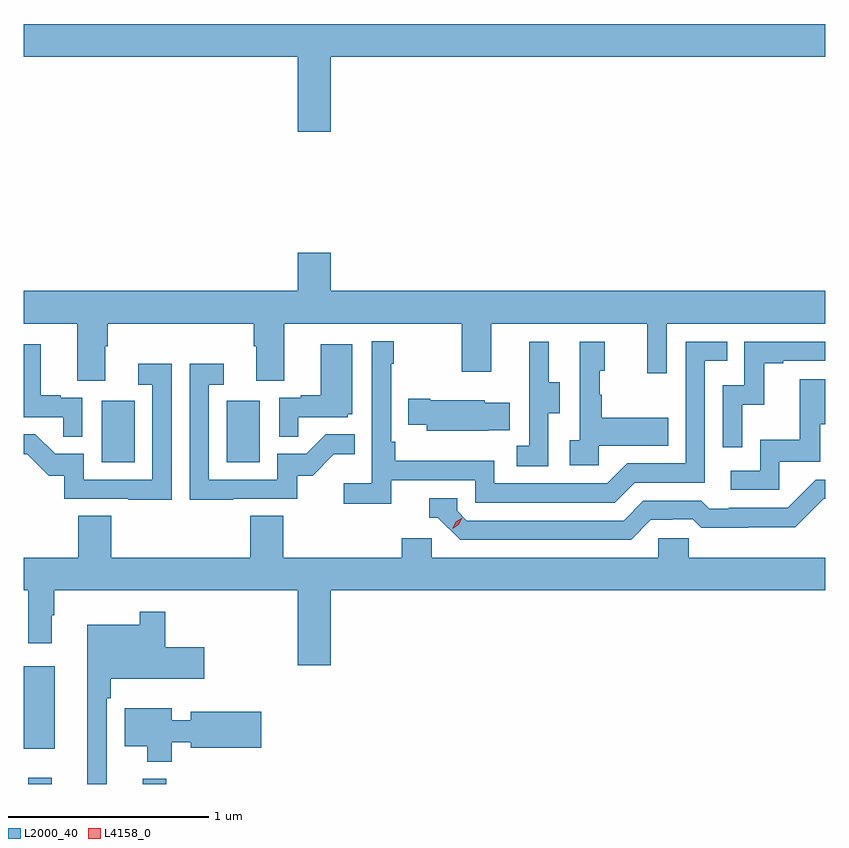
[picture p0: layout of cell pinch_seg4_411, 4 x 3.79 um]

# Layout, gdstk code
import gdstk
lib = gdstk.Library(unit=1e-6, precision=1e-09)
def R(c, l, rs):  # rectangles x0, y0, x1, y1
    for r in rs: c.add(gdstk.rectangle(r[:2], r[2:], *l))
def P(c, l, *ps):  # polygons
    for p in ps: c.add(gdstk.Polygon(p, *l))
L2000_40 = (2000, 40)
L4158_0 = (4158, 0)

pinch_seg4_411 = lib.new_cell('pinch_seg4_411')
R(pinch_seg4_411, L2000_40, [(990.835,769.214,990.953,769.246), (991.406,769.214,991.523,769.24), (990.813,769.391,990.967,769.801), (991.202,770.82,991.366,771.127), (991.826,770.82,991.99,771.127)])
P(pinch_seg4_411, L2000_40, [(992.344,772.844),(994.813,772.844),(994.813,773.008),(990.813,773.008),(990.813,772.844),(992.18,772.844),(992.18,772.47),(992.344,772.47)],
  [(991.219,771.4),(991.232,771.4),(991.232,771.512),(991.961,771.512),(991.961,771.4),(991.973,771.4),(991.973,771.226),(992.113,771.226),(992.113,771.512),(992.998,771.512),(992.998,771.273),(993.145,771.273),(993.145,771.512),(993.926,771.512),(993.926,771.264),(994.023,771.264),(994.023,771.512),(994.813,771.512),(994.813,771.676),(992.344,771.676),(992.344,771.865),(992.18,771.865),(992.18,771.676),(990.813,771.676),(990.813,771.512),(991.079,771.512),(991.079,771.226),(991.219,771.226)],
  [(992.648,770.73),(993.066,770.73),(993.066,770.619),(993.763,770.619),(993.862,770.718),(994.212,770.718),(994.212,771.327),(994.325,771.327),(994.325,771.423),(994.116,771.423),(994.116,770.814),(993.825,770.814),(993.726,770.715),(993.162,770.715),(993.162,770.827),(992.666,770.827),(992.666,770.923),(992.646,770.923),(992.646,771.311),(992.659,771.311),(992.659,771.424),(992.55,771.424),(992.55,770.716),(992.409,770.716),(992.409,770.614),(992.648,770.614)],
  [(994.398,771.107),(994.508,771.107),(994.508,771.315),(994.603,771.315),(994.603,771.327),(994.813,771.327),(994.813,771.423),(994.41,771.423),(994.41,771.204),(994.302,771.204),(994.302,770.895),(994.398,770.895)],
  [(993.684,770.903),(994.031,770.903),(994.031,771.043),(993.697,771.043),(993.697,771.158),(993.687,771.158),(993.687,771.276),(993.712,771.276),(993.712,771.421),(993.588,771.421),(993.588,770.93),(993.537,770.93),(993.537,770.805),(993.684,770.805)],
  [(993.432,771.064),(993.487,771.064),(993.487,771.219),(993.433,771.219),(993.433,771.421),(993.335,771.421),(993.335,771.207),(993.336,771.207),(993.336,770.903),(993.273,770.903),(993.273,770.8),(993.432,770.8)],
  [(991.104,771.141),(990.998,771.141),(990.998,771.154),(990.898,771.154),(990.898,771.409),(990.813,771.409),(990.813,771.045),(991.009,771.045),(991.009,770.947),(991.104,770.947)],
  [(992.183,771.045),(992.43,771.045),(992.43,771.06),(992.452,771.06),(992.452,771.409),(992.294,771.409),(992.294,771.154),(992.195,771.154),(992.195,771.141),(992.088,771.141),(992.088,770.947),(992.183,770.947)],
  [(991.551,771.313),(991.383,771.313),(991.383,771.207),(991.455,771.207),(991.455,770.733),(991.113,770.733),(991.113,770.862),(990.969,770.862),(990.871,770.96),(990.813,770.96),(990.813,770.861),(990.831,770.861),(990.938,770.754),(991.015,770.754),(991.015,770.637),(991.333,770.637),(991.333,770.632),(991.551,770.632)],
  [(991.859,770.637),(992.178,770.637),(992.178,770.754),(992.254,770.754),(992.361,770.861),(992.465,770.861),(992.465,770.96),(992.321,770.96),(992.223,770.862),(992.079,770.862),(992.079,770.733),(991.737,770.733),(991.737,771.207),(991.81,771.207),(991.81,771.313),(991.641,771.313),(991.641,770.632),(991.859,770.632)],
  [(994.584,770.823),(994.789,770.823),(994.789,771.009),(994.813,771.009),(994.813,771.235),(994.687,771.235),(994.687,770.932),(994.488,770.932),(994.488,770.778),(994.341,770.778),(994.341,770.682),(994.584,770.682)],
  [(993.131,770.981),(993.239,770.981),(993.239,771.118),(993.114,771.118),(993.114,771.13),(992.842,771.13),(992.842,771.138),(992.731,771.138),(992.731,771.008),(992.825,771.008),(992.825,770.978),(993.131,770.978)],
  [(993.943,770.532),(994.05,770.532),(994.05,770.535),(994.153,770.535),(994.195,770.493),(994.428,770.493),(994.428,770.495),(994.664,770.495),(994.806,770.637),(994.813,770.637),(994.813,770.733),(994.767,770.733),(994.626,770.592),(994.333,770.592),(994.333,770.589),(994.234,770.589),(994.195,770.628),(993.906,770.628),(993.807,770.529),(993.024,770.529),(992.976,770.577),(992.976,770.64),(992.837,770.64),(992.837,770.544),(992.88,770.544),(992.991,770.433),(993.844,770.433)],
  [(992.344,770.18),(994.813,770.18),(994.813,770.344),(994.131,770.344),(994.131,770.442),(993.981,770.442),(993.981,770.344),(992.85,770.344),(992.85,770.442),(992.699,770.442),(992.699,770.344),(992.108,770.344),(992.108,770.552),(991.943,770.552),(991.943,770.344),(991.25,770.344),(991.25,770.552),(991.085,770.552),(991.085,770.344),(990.813,770.344),(990.813,770.18),(990.835,770.18),(990.835,769.917),(990.952,769.917),(990.952,770.057),(990.964,770.057),(990.964,770.18),(992.18,770.18),(992.18,769.806),(992.344,769.806)],
  [(991.227,769.643),(991.247,769.643),(991.247,769.739),(991.714,769.739),(991.714,769.897),(991.52,769.897),(991.52,770.074),(991.392,770.074),(991.392,770.008),(991.13,770.008),(991.13,769.214),(991.227,769.214)],
  [(991.552,769.422),(991.646,769.422),(991.646,769.396),(991.999,769.396),(991.999,769.574),(991.646,769.574),(991.646,769.532),(991.552,769.532),(991.552,769.591),(991.316,769.591),(991.316,769.403),(991.43,769.403),(991.43,769.325),(991.552,769.325)])
P(pinch_seg4_411, L4158_0, [(992.955,770.489),(992.955,770.49),(992.97,770.522),(993.001,770.542),(993.001,770.542),(993.001,770.542),(992.985,770.509),(992.955,770.489)])

lib.write_gds('pinch_seg4_411.gds')
